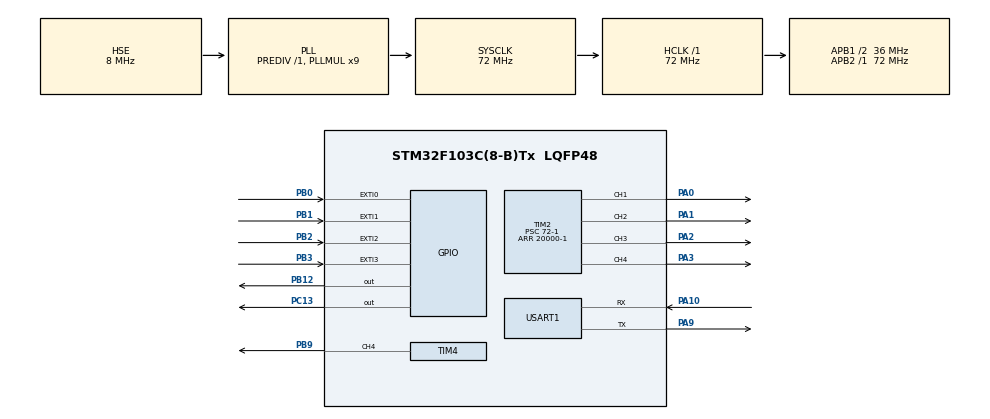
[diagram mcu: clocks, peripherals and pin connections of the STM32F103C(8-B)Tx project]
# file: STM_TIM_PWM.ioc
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Mcu.Family=STM32F1
Mcu.Name=STM32F103C(8-B)Tx
Mcu.Package=LQFP48
NVIC.EXTI0_IRQn=true\:1\:0\:true\:false\:true\:true\:true\:true
NVIC.EXTI1_IRQn=true\:1\:0\:true\:false\:true\:true\:true\:true
NVIC.EXTI2_IRQn=true\:1\:0\:true\:false\:true\:true\:true\:true
NVIC.EXTI3_IRQn=true\:1\:0\:true\:false\:true\:true\:true\:true
NVIC.PriorityGroup=NVIC_PRIORITYGROUP_4
PA0-WKUP.Signal=S_TIM2_CH1_ETR
PA1.Signal=S_TIM2_CH2
PA10.Mode=Asynchronous
PA10.Signal=USART1_RX
PA13.Mode=Serial_Wire
PA13.Signal=SYS_JTMS-SWDIO
PA14.Mode=Serial_Wire
PA14.Signal=SYS_JTCK-SWCLK
PA2.Signal=S_TIM2_CH3
PA3.Signal=S_TIM2_CH4
PA9.Mode=Asynchronous
PA9.Signal=USART1_TX
PB0.GPIO_ModeDefaultEXTI=GPIO_MODE_IT_FALLING
PB0.GPIO_PuPd=GPIO_PULLUP
PB0.Signal=GPXTI0
PB1.GPIO_ModeDefaultEXTI=GPIO_MODE_IT_FALLING
PB1.GPIO_PuPd=GPIO_PULLUP
PB1.Signal=GPXTI1
PB12.Signal=GPIO_Output
PB2.GPIO_ModeDefaultEXTI=GPIO_MODE_IT_FALLING
PB2.GPIO_PuPd=GPIO_PULLUP
PB2.Signal=GPXTI2
PB3.GPIO_ModeDefaultEXTI=GPIO_MODE_IT_FALLING
PB3.GPIO_PuPd=GPIO_PULLUP
PB3.Signal=GPXTI3
PB9.Signal=S_TIM4_CH4
PC13-TAMPER-RTC.Signal=GPIO_Output
PD0-OSC_IN.Mode=HSE-External-Oscillator
PD0-OSC_IN.Signal=RCC_OSC_IN
PD1-OSC_OUT.Mode=HSE-External-Oscillator
PD1-OSC_OUT.Signal=RCC_OSC_OUT
ProjectManager.HeapSize=0x200
ProjectManager.StackSize=0x400
ProjectManager.TargetToolchain=MDK-ARM V5.32
RCC.AHBFreq_Value=72000000
RCC.APB1CLKDivider=RCC_HCLK_DIV2
RCC.APB1Freq_Value=36000000
RCC.APB1TimFreq_Value=72000000
RCC.APB2Freq_Value=72000000
RCC.APB2TimFreq_Value=72000000
RCC.HCLKFreq_Value=72000000
RCC.PLLMUL=RCC_PLL_MUL9
RCC.PLLSourceVirtual=RCC_PLLSOURCE_HSE
RCC.SYSCLKFreq_VALUE=72000000
RCC.SYSCLKSource=RCC_SYSCLKSOURCE_PLLCLK
RCC.USBFreq_Value=72000000
SH.S_TIM2_CH1_ETR.0=TIM2_CH1,PWM Generation1 CH1
SH.S_TIM2_CH2.0=TIM2_CH2,PWM Generation2 CH2
SH.S_TIM2_CH3.0=TIM2_CH3,PWM Generation3 CH3
SH.S_TIM2_CH4.0=TIM2_CH4,PWM Generation4 CH4
SH.S_TIM4_CH4.0=TIM4_CH4,PWM Generation4 CH4
TIM2.Channel-PWM\ Generation1\ CH1=TIM_CHANNEL_1
TIM2.Channel-PWM\ Generation2\ CH2=TIM_CHANNEL_2
TIM2.Channel-PWM\ Generation3\ CH3=TIM_CHANNEL_3
TIM2.Channel-PWM\ Generation4\ CH4=TIM_CHANNEL_4
TIM2.Period=20000-1
TIM2.Prescaler=72-1
TIM2.Pulse-PWM\ Generation1\ CH1=0
TIM4.Channel-PWM\ Generation4\ CH4=TIM_CHANNEL_4
TIM4.Period=2000-1
TIM4.Prescaler=720-1
USART1.VirtualMode=VM_ASYNC
VP_TIM2_VS_ClockSourceINT.Mode=Internal
VP_TIM4_VS_ClockSourceINT.Mode=Internal
board=custom

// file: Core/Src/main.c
/* USER CODE BEGIN Header */
/**
  ******************************************************************************
  * @file           : main.c
  * @brief          : Main program body
  ******************************************************************************
  * @attention
  *
  * Copyright (c) 2022 STMicroelectronics.
  * All rights reserved.
  *
  * This software is licensed under terms that can be found in the LICENSE file
  * in the root directory of this software component.
  * If no LICENSE file comes with this software, it is provided AS-IS.
  *
  ******************************************************************************
  */
/* USER CODE END Header */
#include "main.h"
#include "tim.h"
#include "usart.h"
#include "gpio.h"

/* USER CODE BEGIN Includes */
#include "stdio.h"
/* USER CODE END Includes */

/* USER CODE BEGIN PM */
int i = 1000;
/* USER CODE END PM */

/* USER CODE BEGIN PV */
void shezhi(void)
{
	__HAL_TIM_SET_COMPARE(&htim2, TIM_CHANNEL_1, 200);
	HAL_TIM_PWM_Start(&htim2,TIM_CHANNEL_1);
	HAL_Delay(4500);
	__HAL_TIM_SET_COMPARE(&htim2, TIM_CHANNEL_1, 100);
	HAL_Delay(3000);
	__HAL_TIM_SET_COMPARE(&htim2, TIM_CHANNEL_1, 100);
	HAL_Delay(10000);
	__HAL_TIM_SET_COMPARE(&htim2, TIM_CHANNEL_1, 200);
}

void kaiji(void)
{
	HAL_Delay(5000);
	__HAL_TIM_SET_COMPARE(&htim2, TIM_CHANNEL_1, 110);
	HAL_Delay(10000);
	__HAL_TIM_SET_COMPARE(&htim2, TIM_CHANNEL_1, 125);

}
/* USER CODE END PV */

void SystemClock_Config(void);

int main(void)
{

  /* MCU Configuration--------------------------------------------------------*/

  /* Reset of all peripherals, Initializes the Flash interface and the Systick. */
  HAL_Init();

  /* Configure the system clock */
  SystemClock_Config();

  /* Initialize all configured peripherals */
  MX_GPIO_Init();
  MX_TIM2_Init();
  MX_TIM4_Init();
  MX_USART1_UART_Init();
  /* USER CODE BEGIN 2 */
//	HAL_TIM_PWM_Start(&htim2,TIM_CHANNEL_2);
//	HAL_TIM_PWM_Start(&htim2,TIM_CHANNEL_3);
//	HAL_TIM_PWM_Start(&htim2,TIM_CHANNEL_4);
//		__HAL_TIM_SET_COMPARE(&htim4, TIM_CHANNEL_4, 200); //100, 200
//	HAL_TIM_PWM_Start(&htim4,TIM_CHANNEL_4);
		printf("hello");
	__HAL_TIM_SET_COMPARE(&htim2, TIM_CHANNEL_1, 2000);
			HAL_TIM_PWM_Start(&htim2,TIM_CHANNEL_1);
//	HAL_Delay(4000);

//	for (i = 100; i <= 200; i++)
//	{
//		__HAL_TIM_SET_COMPARE(&htim2, TIM_CHANNEL_1, i);
//		HAL_Delay(200);
//	}
//		kaiji();
  /* USER CODE END 2 */

  /* Infinite loop */
  while (1)
  {

    /* USER CODE BEGIN 3 */

//	__HAL_TIM_SET_COMPARE(&htim2, TIM_CHANNEL_1, 800);
//	__HAL_TIM_SET_COMPARE(&htim2, TIM_CHANNEL_2, 800);
//	__HAL_TIM_SET_COMPARE(&htim2, TIM_CHANNEL_3, 800);
//	__HAL_TIM_SET_COMPARE(&htim2, TIM_CHANNEL_4, 800);

//		HAL_GPIO_WritePin(GPIOB, GPIO_PIN_12, GPIO_PIN_SET);
//		__HAL_TIM_SET_COMPARE(&htim4, TIM_CHANNEL_4, 200);
//	__HAL_TIM_SET_COMPARE(&htim2, TIM_CHANNEL_2, 800);
//  HAL_TIM_PWM_Stop(&htim4,TIM_CHANNEL_4);
  }
  /* USER CODE END 3 */
}

void SystemClock_Config(void)
{
  RCC_OscInitTypeDef RCC_OscInitStruct = {0};
  RCC_ClkInitTypeDef RCC_ClkInitStruct = {0};

  /** Initializes the RCC Oscillators according to the specified parameters
  * in the RCC_OscInitTypeDef structure.
  */
  RCC_OscInitStruct.OscillatorType = RCC_OSCILLATORTYPE_HSE;
  RCC_OscInitStruct.HSEState = RCC_HSE_ON;
  RCC_OscInitStruct.HSEPredivValue = RCC_HSE_PREDIV_DIV1;
  RCC_OscInitStruct.HSIState = RCC_HSI_ON;
  RCC_OscInitStruct.PLL.PLLState = RCC_PLL_ON;
  RCC_OscInitStruct.PLL.PLLSource = RCC_PLLSOURCE_HSE;
  RCC_OscInitStruct.PLL.PLLMUL = RCC_PLL_MUL9;
  if (HAL_RCC_OscConfig(&RCC_OscInitStruct) != HAL_OK)
  {
    Error_Handler();
  }
  /** Initializes the CPU, AHB and APB buses clocks
  */
  RCC_ClkInitStruct.ClockType = RCC_CLOCKTYPE_HCLK|RCC_CLOCKTYPE_SYSCLK
                              |RCC_CLOCKTYPE_PCLK1|RCC_CLOCKTYPE_PCLK2;
  RCC_ClkInitStruct.SYSCLKSource = RCC_SYSCLKSOURCE_PLLCLK;
  RCC_ClkInitStruct.AHBCLKDivider = RCC_SYSCLK_DIV1;
  RCC_ClkInitStruct.APB1CLKDivider = RCC_HCLK_DIV2;
  RCC_ClkInitStruct.APB2CLKDivider = RCC_HCLK_DIV1;

  if (HAL_RCC_ClockConfig(&RCC_ClkInitStruct, FLASH_LATENCY_2) != HAL_OK)
  {
    Error_Handler();
  }
}

/* USER CODE BEGIN 4 */
void  HAL_GPIO_EXTI_Callback(uint16_t GPIO_PIN)
{
	switch(GPIO_PIN)
	{
		case GPIO_PIN_0:
			__HAL_TIM_SET_COMPARE(&htim2, TIM_CHANNEL_1, 2000);
			printf("GPIO_PIN_0");
			break;
		case GPIO_PIN_1:
			__HAL_TIM_SET_COMPARE(&htim2, TIM_CHANNEL_1, 1000);
		printf("GPIO_PIN_1");
			break;
		case GPIO_PIN_3:
			__HAL_TIM_SET_COMPARE(&htim2, TIM_CHANNEL_1, 1200);
		printf("GPIO_PIN_3");
			break;
		default:
			break;

	}
}

int fputc(int ch, FILE *f)
{
    uint8_t temp[1] = {ch};
    HAL_UART_Transmit(&huart1 , temp ,1, 2);

    return ch;
}
/* USER CODE END 4 */

void Error_Handler(void)
{
  __disable_irq();
  while (1)
  {
  }
}
